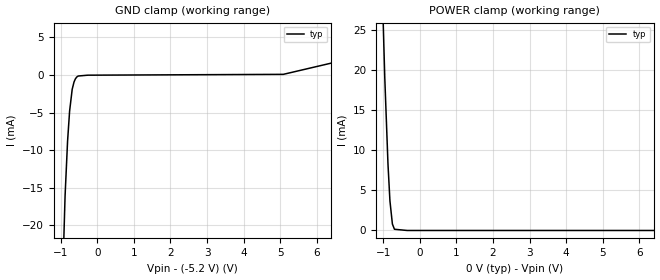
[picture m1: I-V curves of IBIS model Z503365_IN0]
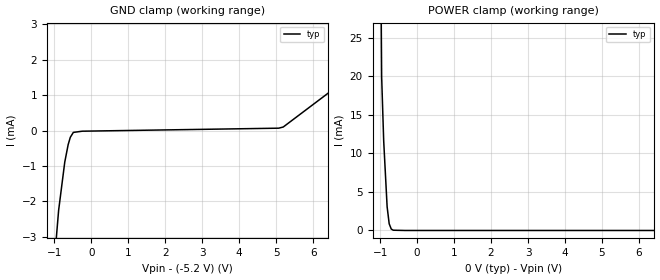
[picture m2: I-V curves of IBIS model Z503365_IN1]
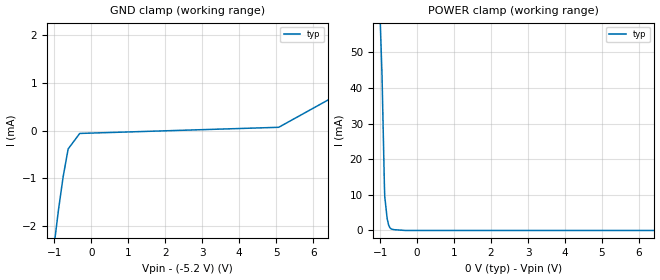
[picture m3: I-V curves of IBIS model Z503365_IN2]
| YOU ARE ONLY AUTHORIZED TO USE THIS SOFTWARE
| ACCORDING TO LICENSOR'S LICENSE RESTRICTIONS.
[IBIS Ver] 3.1
[File Name] mc100e136fn.ibs
[File Rev] 2.0
[Source] Measured and created by ICX Technology
[Date] Friday 7/14/00 9:07:47 AM
[Copyright]
| (C) COPYRIGHT 1993-2000
| MENTOR GRAPHICS CORPORATION
| ICX STANDARD LIBRARY, ICX PROJECT MODELING,
| ICX CUSTOM MODELING, ICX VENDOR MODEL
| ALL RIGHTS RESERVED.
| THE FOLLOWING ARE TRADEMARKS OR SERVICE MARKS OF
| MENTOR GRAPHICS CORPORATION:ICX (R), ICX STANDARD
| LIBRARY(R), ICX PROJECT MODELING(R), ICX CUSTOM
| MODELING(R), qualityIBIS(TM), MODELVIEWER(TM),
| AND MODELEDITOR(TM)
| ALL COPIES OF SOFTWARE, INCLUDING BUT NOT LIMITED TO
| ANY MODIFICATIONS, ENHANCEMENTS OR DERIVATIVE WORKS,
| MUST CONTAIN ALL MENTOR GRAPHICS CORPORATION'S
| NOTICES AND LEGENDS, INCLUDING THOSE EMBEDDED IN
| SOFTWARE AND THOSE AFFIXED TO SOFTWARE MEDIUM
| AND CONTAINER, AS RECEIVED FROM MENTOR GRAPHICS
| CORPORATION.
|  ZAP Model Builder 2.7
[Component] MC100E136FN
[Manufacturer] OnSemiconductor
[Package]
| variable   typ   min   max
R_pkg  .083ohms NA NA
L_pkg  4.299nH NA NA
C_pkg  1.045pF NA NA
[Pin] signal_name  model_name  R_pin  L_pin C_pin
1 VEE POWER .08 3.94n .925p
2 CLK Z503365_IN0 .082 4.14n .995p
3 _CIN Z503365_IN1 .084 4.354n 1.065p
4 _CLIN Z503365_IN2 .086 4.583n 1.135p
5 MR Z503365_IN3 .086 4.583n 1.135p
6 D1 Z503365_IN4 .084 4.354n 1.065p
7 D0 Z503365_IN4 .082 4.14n .995p
8 VCCO POWER .08 3.94n .925p
9 Q0 Z503365_OUT0 .082 4.14n .995p
10 Q1 Z503365_OUT0 .084 4.354n 1.065p
11 VCCO POWER .086 4.583n 1.135p
12 _CLOUT Z503365_OUT0 .086 4.583n 1.135p
13 _COUT Z503365_OUT0 .084 4.354n 1.065p
14 COUT Z503365_OUT0 .082 4.14n .995p
15 VCCO POWER .08 3.94n .925p
16 VCC POWER .082 4.14n .995p
17 Q2 Z503365_OUT0 .084 4.354n 1.065p
18 Q3 Z503365_OUT0 .086 4.583n 1.135p
19 VCCO POWER .086 4.583n 1.135p
20 Q4 Z503365_OUT0 .084 4.354n 1.065p
21 Q5 Z503365_OUT0 .082 4.14n .995p
22 VCCO POWER .08 3.94n .925p
23 D5 Z503365_IN4 .082 4.14n .995p
24 D4 Z503365_IN4 .084 4.354n 1.065p
25 D3 Z503365_IN4 .086 4.583n 1.135p
26 D2 Z503365_IN4 .086 4.583n 1.135p
27 S2 Z503365_IN5 .084 4.354n 1.065p
28 S1 Z503365_IN5 .082 4.14n .995p
| Models and submodels in the file (7): Z503365_IN0 (Input_ECL), Z503365_IN1 (Input_ECL), Z503365_IN2 (Input_ECL), Z503365_IN3 (Input_ECL), Z503365_IN4 (Input_ECL), Z503365_IN5 (Input_ECL), Z503365_OUT0 (Output_ECL)
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| (C) COPYRIGHT 1993-2000
| MENTOR GRAPHICS CORPORATION
| ICX STANDARD LIBRARY, ICX PROJECT MODELING,
| ICX CUSTOM MODELING, ICX VENDOR MODEL
| ALL RIGHTS RESERVED.
| THE FOLLOWING ARE TRADEMARKS OR SERVICE MARKS OF
| MENTOR GRAPHICS CORPORATION:ICX (R), ICX STANDARD
| LIBRARY(R), ICX PROJECT MODELING(R), ICX CUSTOM
| MODELING(R), qualityIBIS(TM), MODELVIEWER(TM),
| AND MODELEDITOR(TM)
| ALL COPIES OF SOFTWARE, INCLUDING BUT NOT LIMITED TO
| ANY MODIFICATIONS, ENHANCEMENTS OR DERIVATIVE WORKS,
| MUST CONTAIN ALL MENTOR GRAPHICS CORPORATION'S
| NOTICES AND LEGENDS, INCLUDING THOSE EMBEDDED IN
| SOFTWARE AND THOSE AFFIXED TO SOFTWARE MEDIUM
| AND CONTAINER, AS RECEIVED FROM MENTOR GRAPHICS
| CORPORATION.
| Model Application Version 1.89 2/18/99.
[Model] Z503365_IN0
Model_type Input_ECL
Vinl = -1.475V
Vinh = -1.165V
C_comp 4.000pF NA NA
| variable typ   min   max
[Voltage Range] -5.200V NA NA
[GND Clamp Reference] -5.200V NA NA
[POWER Clamp Reference] 0.000V NA NA
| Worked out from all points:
|   GND clamp passes 1 mA (typ) near -0.64 V on its own axis
|   POWER clamp passes 1 mA (typ) near -0.76 V on its own axis
[GND Clamp]
-5.2V     -1.03A     NA         NA
-1.002V   -35.77mA   NA         NA
-884mV    -16.08mA   NA         NA
-816mV    -8.823mA   NA         NA
-760mV    -4.793mA   NA         NA
-689mV    -1.892mA   NA         NA
-639mV    -924.1uA   NA         NA
-604mV    -529.9uA   NA         NA
-524mV    -130.4uA   NA         NA
-262mV    -20.26uA   NA         NA
5.088V    90.64uA    NA         NA
10.4V     6.14mA     NA         NA
[POWER Clamp]
-5.2V     1.375A     NA         NA
-1.143V   55.99mA    NA         NA
-1.045V   32.56mA    NA         NA
-961.6mV  19.21mA    NA         NA
-872.9mV  8.302mA    NA         NA
-819.6mV  3.704mA    NA         NA
-752mV    802.5uA    NA         NA
-695.4mV  151.9uA    NA         NA
-347.7mV  0A         NA         NA
10.4V     0A         NA         NA
| (C) COPYRIGHT 1993-2000
| MENTOR GRAPHICS CORPORATION
| ICX STANDARD LIBRARY, ICX PROJECT MODELING,
| ICX CUSTOM MODELING, ICX VENDOR MODEL
| ALL RIGHTS RESERVED.
| THE FOLLOWING ARE TRADEMARKS OR SERVICE MARKS OF
| MENTOR GRAPHICS CORPORATION:ICX (R), ICX STANDARD
| LIBRARY(R), ICX PROJECT MODELING(R), ICX CUSTOM
| MODELING(R), qualityIBIS(TM), MODELVIEWER(TM),
| AND MODELEDITOR(TM)
| ALL COPIES OF SOFTWARE, INCLUDING BUT NOT LIMITED TO
| ANY MODIFICATIONS, ENHANCEMENTS OR DERIVATIVE WORKS,
| MUST CONTAIN ALL MENTOR GRAPHICS CORPORATION'S
| NOTICES AND LEGENDS, INCLUDING THOSE EMBEDDED IN
| SOFTWARE AND THOSE AFFIXED TO SOFTWARE MEDIUM
| AND CONTAINER, AS RECEIVED FROM MENTOR GRAPHICS
| CORPORATION.
| Model Application Version 1.89 2/18/99.
[Model] Z503365_IN1
Model_type Input_ECL
Vinl = -1.475V
Vinh = -1.165V
C_comp 4.000pF NA NA
| variable typ   min   max
[Voltage Range] -5.200V NA NA
[GND Clamp Reference] -5.200V NA NA
[POWER Clamp Reference] 0.000V NA NA
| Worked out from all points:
|   GND clamp passes 1 mA (typ) near -0.73 V on its own axis
|   POWER clamp passes 1 mA (typ) near -0.76 V on its own axis
[GND Clamp]
-5.2V     -136.7mA   NA         NA
-1.025V   -4.027mA   NA         NA
-883mV    -2.254mA   NA         NA
-717mV    -890.9uA   NA         NA
-625mV    -397.7uA   NA         NA
-567mV    -191.4uA   NA         NA
-485mV    -52.83uA   NA         NA
-242.5mV  -18.75uA   NA         NA
5.069V    66.31uA    NA         NA
5.191V    99.37uA    NA         NA
10.4V     4.197mA    NA         NA
[POWER Clamp]
-5.2V     2.825A     NA         NA
-958.5mV  19.94mA    NA         NA
-903.2mV  11.62mA    NA         NA
-810.4mV  3.08mA     NA         NA
-754.6mV  867.7uA    NA         NA
-698.5mV  184.8uA    NA         NA
-642.3mV  34.05uA    NA         NA
-321.2mV  0A         NA         NA
10.4V     0A         NA         NA
| (C) COPYRIGHT 1993-2000
| MENTOR GRAPHICS CORPORATION
| ICX STANDARD LIBRARY, ICX PROJECT MODELING,
| ICX CUSTOM MODELING, ICX VENDOR MODEL
| ALL RIGHTS RESERVED.
| THE FOLLOWING ARE TRADEMARKS OR SERVICE MARKS OF
| MENTOR GRAPHICS CORPORATION:ICX (R), ICX STANDARD
| LIBRARY(R), ICX PROJECT MODELING(R), ICX CUSTOM
| MODELING(R), qualityIBIS(TM), MODELVIEWER(TM),
| AND MODELEDITOR(TM)
| ALL COPIES OF SOFTWARE, INCLUDING BUT NOT LIMITED TO
| ANY MODIFICATIONS, ENHANCEMENTS OR DERIVATIVE WORKS,
| MUST CONTAIN ALL MENTOR GRAPHICS CORPORATION'S
| NOTICES AND LEGENDS, INCLUDING THOSE EMBEDDED IN
| SOFTWARE AND THOSE AFFIXED TO SOFTWARE MEDIUM
| AND CONTAINER, AS RECEIVED FROM MENTOR GRAPHICS
| CORPORATION.
| Model Application Version 1.89 2/18/99.
[Model] Z503365_IN2
Model_type Input_ECL
Vinl = -1.475V
Vinh = -1.165V
C_comp 4.000pF NA NA
| variable typ   min   max
[Voltage Range] -5.200V NA NA
[GND Clamp Reference] -5.200V NA NA
[POWER Clamp Reference] 0.000V NA NA
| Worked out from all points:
|   GND clamp passes 1 mA (typ) near -0.77 V on its own axis
|   POWER clamp passes 1 mA (typ) near -0.75 V on its own axis
[GND Clamp]
-5.2V     -47.43mA   NA         NA
-1.499V   -6.47mA    NA         NA
-1.355V   -5.102mA   NA         NA
-1.171V   -3.57mA    NA         NA
-1.04V    -2.631mA   NA         NA
-889mV    -1.673mA   NA         NA
-759mV    -960.2uA   NA         NA
-625mV    -385.1uA   NA         NA
-312.5mV  -61.19uA   NA         NA
5.069V    67.69uA    NA         NA
10.4V     2.355mA    NA         NA
[POWER Clamp]
-5.2V     1.39A      NA         NA
-947.3mV  43.16mA    NA         NA
-883.9mV  12.48mA    NA         NA
-874.3mV  9.551mA    NA         NA
-810.4mV  3.358mA    NA         NA
-770.2mV  1.539mA    NA         NA
-737.9mV  799.6uA    NA         NA
-698.4mV  418.9uA    NA         NA
-624.8mV  224.6uA    NA         NA
-312.4mV  0A         NA         NA
10.4V     0A         NA         NA
